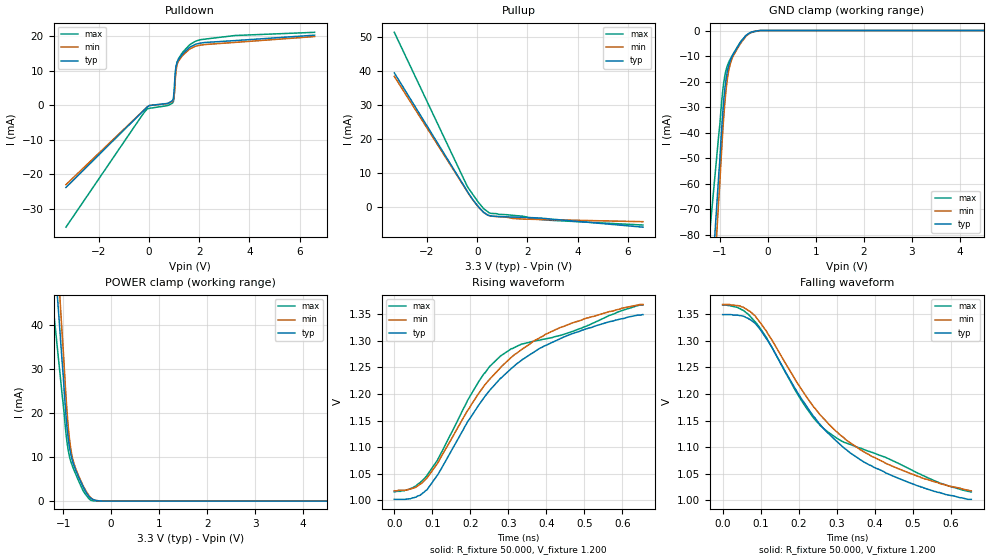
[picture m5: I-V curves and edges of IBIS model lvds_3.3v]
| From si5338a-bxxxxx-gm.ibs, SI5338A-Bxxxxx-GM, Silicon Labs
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[Model]   lvds_3.3v
Model_type 3-state
Vref=1.200E+00
Rref=5.000E+01
Cref=0.000E+00
Vmeas=1.17
C_comp   1.110E-12   1.100E-12   1.120E-12
[Voltage Range]   3.300E+00   2.970E+00   3.630E+00
[POWER Clamp Reference]   3.300E+00   2.970E+00   3.630E+00
[GND Clamp Reference]   0.000E+00   0.000E+00   0.000E+00
[Pullup Reference]   3.300E+00   2.970E+00   3.630E+00
[Pulldown Reference]   0.000E+00   0.000E+00   0.000E+00
[Temperature Range]   25   85   -40
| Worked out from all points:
|   slope of the pulldown table from 0 to 0.495 V, typ, clamps not added: 996 ohm
|   slope of the pullup table from 0 to 0.495 V, typ, clamps not added: 163 ohm
|   GND clamp passes 1 mA (typ) near -0.38 V on its own axis
|   POWER clamp passes 1 mA (typ) near -0.46 V on its own axis
|   rising waveform, R_fixture 50.000, V_fixture 1.200: 20-80 % time 236ps typ, 236ps min, 233ps max; typ from 1 V to 1.35 V
|   falling waveform, R_fixture 50.000, V_fixture 1.200: 20-80 % time 238ps typ, 247ps min, 286ps max; typ from 1.35 V to 1 V
[GND Clamp]
-3.3V     -713.7mA   -788.1mA   -504.8mA
-1.02V    -56.01mA   -65.68mA   -40.45mA
-960mV    -38.12mA   -46.23mA   -27.61mA
-920mV    -27.78mA   -34.45mA   -20.7mA
-880mV    -20.42mA   -25.21mA   -16.3mA
-820mV    -14.09mA   -16.34mA   -12.69mA
-780mV    -11.74mA   -12.99mA   -11.15mA
-720mV    -9.305mA   -9.941mA   -9.092mA
-560mV    -4.438mA   -4.851mA   -4.236mA
-360mV    -762.9uA   -867.6uA   -923.4uA
-160mV    0A         0A         0A
6.6V      0A         0A         0A
[Power Clamp]
-3.3V     374.5mA    438.1mA    267.8mA
-1.02V    31.56mA    37.94mA    24.09mA
-940mV    19.33mA    23.67mA    15.32mA
-900mV    14.77mA    17.68mA    11.95mA
-860mV    11.78mA    13.44mA    9.771mA
-820mV    9.729mA    10.58mA    8.363mA
-780mV    8.266mA    8.727mA    7.231mA
-660mV    5.015mA    5.303mA    4.168mA
-560mV    2.738mA    3.017mA    1.936mA
-420mV    648.3uA    735.5uA    202.6uA
-180mV    0A         0A         0A
6.6V      0A         0A         0A
[Pullup]
-3.3V     39.48mA    38.46mA    51.38mA
-420mV    5.025mA    4.895mA    6.539mA
-40mV     956.8uA    886.8uA    2.374mA
280mV     -1.617mA   -1.627mA   -534.1uA
520mV     -2.487mA   -2.526mA   -1.751mA
1.78V     -2.942mA   -3.439mA   -2.569mA
2.08V     -3.004mA   -3.503mA   -3.179mA
2.54V     -3.168mA   -3.587mA   -3.609mA
6.6V      -5.832mA   -4.229mA   -5.21mA
[Pulldown]
-3.3V     -23.76mA   -22.95mA   -35.24mA
-160mV    -1.152mA   -1.113mA   -1.814mA
20mV      -48.8uA    -51.66uA   -853.9uA
940mV     1.366mA    1.149mA    631.3uA
980mV     2.291mA    1.602mA    1.187mA
1V        3.792mA    2.261mA    2.1mA
1.06V     10.09mA    8.294mA    9.037mA
1.12V     12.38mA    11.75mA    12.45mA
1.34V     14.81mA    14.38mA    15.28mA
1.68V     17.04mA    16.52mA    17.81mA
3.44V     18.74mA    18.23mA    20.22mA
6.6V      20.31mA    19.91mA    21.13mA
[Rising Waveform]
R_fixture = 50.000
V_fixture = 1.200
V_fixture_min = 1.200
V_fixture_max = 1.200
|  time   V(typ)   V(min)   V(max)
0s        1.002V     1.018V     1.016V
41ps      1.003V     1.021V     1.021V
86ps      1.02V      1.042V     1.047V
114ps     1.048V     1.07V      1.076V
221ps     1.178V     1.2V       1.222V
280ps     1.23V      1.25V      1.272V
336ps     1.264V     1.284V     1.294V
437ps     1.304V     1.325V     1.31V
567ps     1.336V     1.355V     1.348V
654ps     1.349V     1.368V     1.367V
[Falling Waveform]
R_fixture = 50.000
V_fixture = 1.200
V_fixture_min = 1.200
V_fixture_max = 1.200
|  time   V(typ)   V(min)   V(max)
0s        1.349V     1.368V     1.367V
47ps      1.347V     1.365V     1.36V
90ps      1.329V     1.342V     1.332V
207ps     1.191V     1.209V     1.188V
240ps     1.157V     1.175V     1.154V
277ps     1.126V     1.145V     1.128V
362ps     1.076V     1.095V     1.098V
434ps     1.05V      1.068V     1.079V
570ps     1.015V     1.032V     1.033V
654ps     1.002V     1.018V     1.016V
[Ramp]
dV/dt_f   2.0820E-01/2.3902E-10   2.1000E-01/2.4667E-10   2.1060E-01/2.8512E-10
dV/dt_r   2.0820E-01/2.3530E-10   2.1000E-01/2.3640E-10   2.1060E-01/2.3460E-10
R_load = 50
